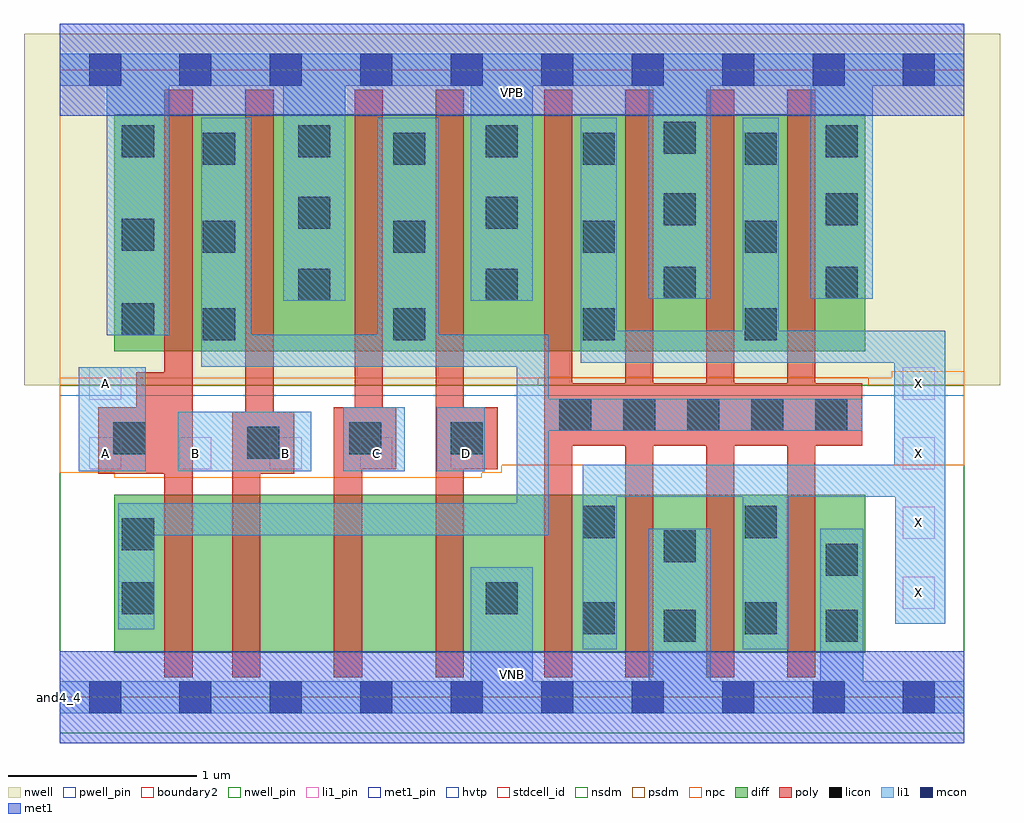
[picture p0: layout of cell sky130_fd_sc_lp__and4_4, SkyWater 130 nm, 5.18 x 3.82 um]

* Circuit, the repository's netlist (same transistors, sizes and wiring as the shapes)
* Copyright 2020 The SkyWater PDK Authors
*
* Licensed under the Apache License, Version 2.0 (the "License");
* you may not use this file except in compliance with the License.
* You may obtain a copy of the License at
*
*     https://www.apache.org/licenses/LICENSE-2.0
*
* Unless required by applicable law or agreed to in writing, software
* distributed under the License is distributed on an "AS IS" BASIS,
* WITHOUT WARRANTIES OR CONDITIONS OF ANY KIND, either express or implied.
* See the License for the specific language governing permissions and
* limitations under the License.
*
* SPDX-License-Identifier: Apache-2.0

.SUBCKT sky130_fd_sc_lp__and4_4 A B C D VGND VNB VPB VPWR X
*.PININFO A:I B:I C:I D:I VGND:I VNB:I VPB:I VPWR:I X:O
MMP0 y A VPWR VPB sky130_fd_pr__pfet_01v8_hvt m=1 w=1.26U l=0.15U mult=1 sa=0.265
+ sb=0.265 sd=0.28 area=0.063 perim=1.14
MMP1 y B VPWR VPB sky130_fd_pr__pfet_01v8_hvt m=1 w=1.26U l=0.15U mult=1 sa=0.265
+ sb=0.265 sd=0.28 area=0.063 perim=1.14
MMP2 y C VPWR VPB sky130_fd_pr__pfet_01v8_hvt m=1 w=1.26U l=0.15U mult=1 sa=0.265
+ sb=0.265 sd=0.28 area=0.063 perim=1.14
MMP3 y D VPWR VPB sky130_fd_pr__pfet_01v8_hvt m=1 w=1.26U l=0.15U mult=1 sa=0.265
+ sb=0.265 sd=0.28 area=0.063 perim=1.14
MMIP0 X y VPWR VPB sky130_fd_pr__pfet_01v8_hvt m=4 w=1.26U l=0.15U mult=1 sa=0.265
+ sb=0.265 sd=0.28 area=0.063 perim=1.14
MMN0 y A sndA VNB sky130_fd_pr__nfet_01v8 m=1 w=0.84U l=0.15U mult=1 sa=0.265 sb=0.265
+ sd=0.28 area=0.063 perim=1.14
MMN1 sndA B sndB VNB sky130_fd_pr__nfet_01v8 m=1 w=0.84U l=0.15U mult=1 sa=0.265
+ sb=0.265 sd=0.28 area=0.063 perim=1.14
MMN2 sndB C sndC VNB sky130_fd_pr__nfet_01v8 m=1 w=0.84U l=0.15U mult=1 sa=0.265
+ sb=0.265 sd=0.28 area=0.063 perim=1.14
MMN3 sndC D VGND VNB sky130_fd_pr__nfet_01v8 m=1 w=0.84U l=0.15U mult=1 sa=0.265
+ sb=0.265 sd=0.28 area=0.063 perim=1.14
MMIN0 X y VGND VNB sky130_fd_pr__nfet_01v8 m=4 w=0.84U l=0.15U mult=1 sa=0.265
+ sb=0.265 sd=0.28 area=0.063 perim=1.14
.ENDS sky130_fd_sc_lp__and4_4

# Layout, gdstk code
import gdstk
lib = gdstk.Library(unit=1e-6, precision=1e-09)
def R(c, l, rs):  # rectangles x0, y0, x1, y1
    for r in rs: c.add(gdstk.rectangle(r[:2], r[2:], *l))
def A(c, l, x, y, w, h, nx, ny, dx, dy):  # array of equal rectangles
    R(c, l, [(x+i*dx, y+j*dy, x+i*dx+w, y+j*dy+h) for i in range(nx) for j in range(ny)])
def P(c, l, *ps):  # polygons
    for p in ps: c.add(gdstk.Polygon(p, *l))
nwell_pin = (64, 16)
nwell = (64, 20)
diff = (65, 20)
poly = (66, 20)
licon = (66, 44)
li1_pin = (67, 16)
li1 = (67, 20)
mcon = (67, 44)
met1_pin = (68, 16)
met1 = (68, 20)
hvtp = (78, 44)
stdcell_id = (81, 4)
nsdm = (93, 44)
psdm = (94, 20)
npc = (95, 20)
pwell_pin = (122, 16)
boundary2 = (236, 0)

sky130_fd_sc_lp__and4_4 = lib.new_cell('sky130_fd_sc_lp__and4_4')
R(sky130_fd_sc_lp__and4_4, nwell_pin, [(0,3.085,4.8,3.33)])
R(sky130_fd_sc_lp__and4_4, nwell, [(-0.19,1.655,4.99,3.52)])
R(sky130_fd_sc_lp__and4_4, diff, [(0.29,0.235,4.275,1.075), (0.29,1.835,4.275,3.095)])
P(sky130_fd_sc_lp__and4_4, poly, [(0.705,3.225),(0.555,3.225),(0.555,1.725),(0.405,1.725),(0.405,1.54),(0.205,1.54),(0.205,1.185),(0.555,1.185),(0.555,0.105),(0.705,0.105)],
  [(1.245,1.515),(1.135,1.515),(1.135,3.225),(0.985,3.225),(0.985,1.515),(0.915,1.515),(0.915,0.105),(1.065,0.105),(1.065,1.185),(1.245,1.185)],
  [(1.785,1.54),(1.715,1.54),(1.715,3.225),(1.565,3.225),(1.565,1.54),(1.455,1.54),(1.455,0.105),(1.605,0.105),(1.605,1.21),(1.785,1.21)],
  [(2.325,1.54),(2.145,1.54),(2.145,3.225),(1.995,3.225),(1.995,0.105),(2.145,0.105),(2.145,1.21),(2.325,1.21)],
  [(4.26,1.665),(4.01,1.665),(4.01,3.225),(3.86,3.225),(3.86,1.665),(3.58,1.665),(3.58,3.225),(3.43,3.225),(3.43,1.665),(3.15,1.665),(3.15,3.225),(3,3.225),(3,1.665),(2.72,1.665),(2.72,3.225),(2.57,3.225),(2.57,0.105),(2.72,0.105),(2.72,1.335),(3,1.335),(3,0.105),(3.15,0.105),(3.15,1.335),(3.43,1.335),(3.43,0.105),(3.58,0.105),(3.58,1.335),(3.86,1.335),(3.86,0.105),(4.01,0.105),(4.01,1.335),(4.26,1.335)])
A(sky130_fd_sc_lp__and4_4, licon, 2.65, 1.415, 0.17, 0.17, 5, 1, 0.34, 0)
A(sky130_fd_sc_lp__and4_4, licon, 0.76, 1.895, 0.17, 0.17, 1, 3, 0, 0.465)
A(sky130_fd_sc_lp__and4_4, licon, 1.77, 1.895, 0.17, 0.17, 1, 3, 0, 0.465)
A(sky130_fd_sc_lp__and4_4, licon, 2.775, 1.895, 0.17, 0.17, 1, 3, 0, 0.465)
A(sky130_fd_sc_lp__and4_4, licon, 3.635, 1.895, 0.17, 0.17, 1, 3, 0, 0.465)
A(sky130_fd_sc_lp__and4_4, licon, 1.265, 2.105, 0.17, 0.17, 1, 3, 0, 0.38)
A(sky130_fd_sc_lp__and4_4, licon, 2.26, 2.105, 0.17, 0.17, 1, 3, 0, 0.38)
R(sky130_fd_sc_lp__and4_4, licon, [(3.205,0.295,3.375,0.465), (4.065,0.295,4.235,0.465), (2.775,0.335,2.945,0.505), (3.635,0.335,3.805,0.505), (0.33,0.44,0.5,0.61), (2.26,0.44,2.43,0.61), (4.065,0.645,4.235,0.815), (3.205,0.715,3.375,0.885), (0.33,0.78,0.5,0.95), (2.775,0.845,2.945,1.015), (3.635,0.845,3.805,1.015), (0.995,1.265,1.165,1.435), (0.285,1.29,0.455,1.46), (1.535,1.29,1.705,1.46), (2.075,1.29,2.245,1.46), (0.33,1.92,0.5,2.09), (3.205,2.115,3.375,2.285), (4.065,2.115,4.235,2.285), (0.33,2.37,0.5,2.54), (3.205,2.505,3.375,2.675), (4.065,2.505,4.235,2.675), (0.33,2.865,0.5,3.035), (4.065,2.865,4.235,3.035), (3.205,2.885,3.375,3.055)])
A(sky130_fd_sc_lp__and4_4, li1_pin, 4.475, 0.47, 0.17, 0.17, 1, 4, 0, 0.37)
A(sky130_fd_sc_lp__and4_4, li1_pin, 0.155, 1.21, 0.17, 0.17, 5, 1, 0.48, 0)
R(sky130_fd_sc_lp__and4_4, li1_pin, [(0.155,1.58,0.325,1.75)])
R(sky130_fd_sc_lp__and4_4, li1, [(0.1,1.2,0.455,1.75), (0.625,1.2,1.335,1.515), (1.505,1.2,1.83,1.54), (2,1.2,2.255,1.54)])
P(sky130_fd_sc_lp__and4_4, li1, [(2.18,2.105),(2.18,3.245),(1.515,3.245),(1.515,2.105),(1.185,2.105),(1.185,3.245),(0.58,3.245),(0.58,1.92),(0.25,1.92),(0.25,3.245),(0,3.245),(0,3.415),(4.8,3.415),(4.8,3.245),(4.315,3.245),(4.315,2.115),(3.985,2.115),(3.985,3.245),(3.455,3.245),(3.455,2.115),(3.125,2.115),(3.125,3.245),(2.51,3.245),(2.51,2.105)],
  [(3.125,0.085),(3.125,0.895),(3.455,0.895),(3.455,0.085),(4.035,0.085),(4.035,0.895),(4.265,0.895),(4.265,0.085),(4.8,0.085),(4.8,-0.085),(0,-0.085),(0,0.085),(2.18,0.085),(2.18,0.69),(2.51,0.69),(2.51,0.085)],
  [(2.425,1.03),(2.425,1.755),(0.75,1.755),(0.75,3.075),(1.015,3.075),(1.015,1.925),(1.685,1.925),(1.685,3.075),(2.01,3.075),(2.01,1.925),(2.595,1.925),(2.595,1.585),(4.26,1.585),(4.26,1.415),(2.595,1.415),(2.595,0.86),(0.5,0.86),(0.5,0.36),(0.31,0.36),(0.31,1.03)],
  [(2.955,1.945),(3.625,1.945),(3.625,3.075),(3.815,3.075),(3.815,1.945),(4.7,1.945),(4.7,0.39),(4.435,0.39),(4.435,1.065),(3.865,1.065),(3.865,0.255),(3.625,0.255),(3.625,1.065),(2.955,1.065),(2.955,0.255),(2.775,0.255),(2.775,1.235),(4.43,1.235),(4.43,1.775),(2.765,1.775),(2.765,3.075),(2.955,3.075)])
A(sky130_fd_sc_lp__and4_4, mcon, 0.155, -0.085, 0.17, 0.17, 10, 2, 0.48, 3.33)
R(sky130_fd_sc_lp__and4_4, met1_pin, [(0,0,4.8,0.245), (0,3.085,4.8,3.33)])
R(sky130_fd_sc_lp__and4_4, met1, [(0,-0.245,4.8,0.245), (0,3.085,4.8,3.575)])
R(sky130_fd_sc_lp__and4_4, hvtp, [(0,1.6,4.8,3.33)])
R(sky130_fd_sc_lp__and4_4, stdcell_id, [(0,0,4.8,3.33)])
R(sky130_fd_sc_lp__and4_4, nsdm, [(0,-0.19,4.8,1.655)])
P(sky130_fd_sc_lp__and4_4, psdm, [(4.8,3.52),(0,3.52),(0,1.655),(2.54,1.655),(2.54,1.695),(4.29,1.695),(4.29,1.655),(4.8,1.655)])
P(sky130_fd_sc_lp__and4_4, npc, [(4.8,1.73),(4.415,1.73),(4.415,1.695),(0,1.695),(0,1.19),(0.29,1.19),(0.29,1.165),(2.24,1.165),(2.24,1.19),(2.345,1.19),(2.345,1.23),(4.8,1.23)])
R(sky130_fd_sc_lp__and4_4, pwell_pin, [(0,0,4.8,0.245)])
R(sky130_fd_sc_lp__and4_4, boundary2, [(0,0,4.8,3.33)])
sky130_fd_sc_lp__and4_4.add(gdstk.Label('VNB', (2.4,0.123), layer=64, texttype=59))
sky130_fd_sc_lp__and4_4.add(gdstk.Label('VPB', (2.4,3.208), layer=64, texttype=5))
sky130_fd_sc_lp__and4_4.add(gdstk.Label('and4_4', (0,0), layer=83, texttype=44))
sky130_fd_sc_lp__and4_4.add(gdstk.Label('VPWR', (2.4,3.208), layer=68, texttype=5))
sky130_fd_sc_lp__and4_4.add(gdstk.Label('VGND', (2.4,0.123), layer=68, texttype=5))
sky130_fd_sc_lp__and4_4.add(gdstk.Label('A', (0.24,1.295), layer=67, texttype=5))
sky130_fd_sc_lp__and4_4.add(gdstk.Label('A', (0.24,1.665), layer=67, texttype=5))
sky130_fd_sc_lp__and4_4.add(gdstk.Label('B', (0.72,1.295), layer=67, texttype=5))
sky130_fd_sc_lp__and4_4.add(gdstk.Label('B', (1.2,1.295), layer=67, texttype=5))
sky130_fd_sc_lp__and4_4.add(gdstk.Label('C', (1.68,1.295), layer=67, texttype=5))
sky130_fd_sc_lp__and4_4.add(gdstk.Label('D', (2.16,1.295), layer=67, texttype=5))
sky130_fd_sc_lp__and4_4.add(gdstk.Label('X', (4.56,0.555), layer=67, texttype=5))
sky130_fd_sc_lp__and4_4.add(gdstk.Label('X', (4.56,0.925), layer=67, texttype=5))
sky130_fd_sc_lp__and4_4.add(gdstk.Label('X', (4.56,1.295), layer=67, texttype=5))
sky130_fd_sc_lp__and4_4.add(gdstk.Label('X', (4.56,1.665), layer=67, texttype=5))

lib.write_gds('sky130_fd_sc_lp__and4_4.gds')
